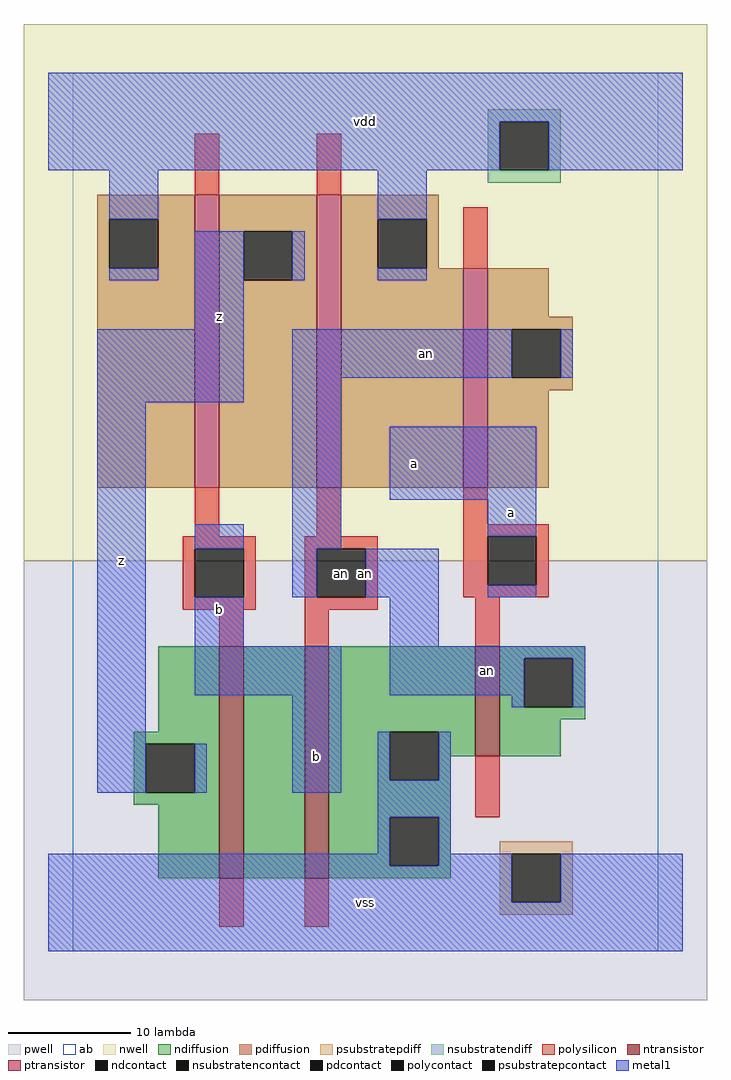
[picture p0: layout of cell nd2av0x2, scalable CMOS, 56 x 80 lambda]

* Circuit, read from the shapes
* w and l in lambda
.subckt nd2av0x2 a an b vdd vss z
M1 n1 b z vss nfet w=19 l=2
M2 vss an n1 vss nfet w=19 l=2
M3 an a vss vss nfet w=9 l=2
M4 z b vdd vdd pfet w=24 l=2
M5 vdd an z vdd pfet w=24 l=2
M6 an a vdd vdd pfet w=18 l=2
.ends

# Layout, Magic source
magic
tech scmos
<< ab >>
rect 0 0 48 72
<< pwell >>
rect -4 -4 52 32
<< nwell >>
rect -4 32 52 76
<< polysilicon >>
rect 10 62 12 67
rect 20 62 22 67
rect 32 56 34 61
rect 10 34 12 38
rect 20 34 22 38
rect 32 35 34 38
rect 32 34 39 35
rect 9 33 15 34
rect 9 29 10 33
rect 14 29 15 33
rect 9 28 15 29
rect 19 33 25 34
rect 19 29 20 33
rect 24 29 25 33
rect 32 30 34 34
rect 38 30 39 34
rect 32 29 39 30
rect 19 28 25 29
rect 12 25 14 28
rect 19 25 21 28
rect 33 25 35 29
rect 33 11 35 16
rect 12 2 14 6
rect 19 2 21 6
<< ndiffusion >>
rect 7 18 12 25
rect 5 17 12 18
rect 5 13 6 17
rect 10 13 12 17
rect 5 12 12 13
rect 7 6 12 12
rect 14 6 19 25
rect 21 18 33 25
rect 21 14 26 18
rect 30 16 33 18
rect 35 24 42 25
rect 35 20 37 24
rect 41 20 42 24
rect 35 19 42 20
rect 35 16 40 19
rect 30 14 31 16
rect 21 11 31 14
rect 21 7 26 11
rect 30 7 31 11
rect 21 6 31 7
<< pdiffusion >>
rect 2 60 10 62
rect 2 56 3 60
rect 7 56 10 60
rect 2 38 10 56
rect 12 59 20 62
rect 12 55 14 59
rect 18 55 20 59
rect 12 38 20 55
rect 22 60 30 62
rect 22 56 25 60
rect 29 56 30 60
rect 22 38 32 56
rect 34 52 39 56
rect 34 51 41 52
rect 34 47 36 51
rect 40 47 41 51
rect 34 46 41 47
rect 34 38 39 46
<< metal1 >>
rect -2 68 50 72
rect -2 64 35 68
rect 39 64 50 68
rect 3 60 7 64
rect 25 60 29 64
rect 3 55 7 56
rect 10 51 14 59
rect 18 55 19 59
rect 25 55 29 56
rect 2 45 14 51
rect 18 47 36 51
rect 40 47 41 51
rect 2 13 6 45
rect 10 33 14 35
rect 18 33 22 47
rect 26 37 38 43
rect 34 34 38 37
rect 18 29 20 33
rect 24 29 30 33
rect 34 29 38 30
rect 10 25 14 29
rect 26 25 30 29
rect 10 21 22 25
rect 26 24 42 25
rect 26 21 37 24
rect 10 13 11 17
rect 18 13 22 21
rect 36 20 37 21
rect 41 20 42 24
rect 25 14 26 18
rect 30 14 31 18
rect 25 11 31 14
rect 25 8 26 11
rect -2 7 26 8
rect 30 8 31 11
rect 30 7 36 8
rect -2 4 36 7
rect 40 4 50 8
rect -2 0 50 4
<< ntransistor >>
rect 12 6 14 25
rect 19 6 21 25
rect 33 16 35 25
<< ptransistor >>
rect 10 38 12 62
rect 20 38 22 62
rect 32 38 34 56
<< polycontact >>
rect 10 29 14 33
rect 20 29 24 33
rect 34 30 38 34
<< ndcontact >>
rect 6 13 10 17
rect 26 14 30 18
rect 37 20 41 24
rect 26 7 30 11
<< pdcontact >>
rect 3 56 7 60
rect 14 55 18 59
rect 25 56 29 60
rect 36 47 40 51
<< psubstratepcontact >>
rect 36 4 40 8
<< nsubstratencontact >>
rect 35 64 39 68
<< psubstratepdiff >>
rect 35 8 41 9
rect 35 4 36 8
rect 40 4 41 8
rect 35 3 41 4
<< nsubstratendiff >>
rect 34 68 40 69
rect 34 64 35 68
rect 39 64 40 68
rect 34 63 40 64
<< labels >>
rlabel polycontact 22 31 22 31 6 an
rlabel metal1 4 32 4 32 6 z
rlabel metal1 20 16 20 16 6 b
rlabel metal1 12 28 12 28 6 b
rlabel metal1 12 52 12 52 6 z
rlabel metal1 24 4 24 4 6 vss
rlabel metal1 24 31 24 31 6 an
rlabel metal1 28 40 28 40 6 a
rlabel metal1 24 68 24 68 6 vdd
rlabel metal1 34 23 34 23 6 an
rlabel metal1 36 36 36 36 6 a
rlabel metal1 29 49 29 49 6 an
<< end >>
